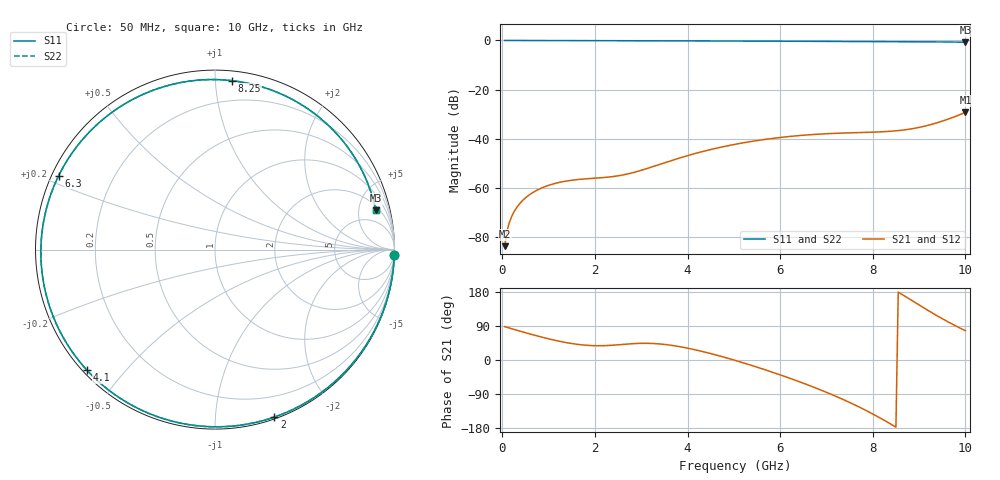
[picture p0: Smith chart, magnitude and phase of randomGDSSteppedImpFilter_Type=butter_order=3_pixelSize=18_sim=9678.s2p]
! freq	dB(S11)	phase(S11)	dB(S12)	phase(S12)
!  dB(S21)	phase(S21)	dB(S22)	phase(S22)
!S-par simulation data
#  GHz  S  DB  R 50
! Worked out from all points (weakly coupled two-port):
!   200 points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, 50 MHz to 10 GHz, reference 50 ohm
!   highest |S21| = -29.27 dB at 10 GHz (marker M1); lowest = -83.7 dB at 50 MHz (marker M2)
!   lowest |S11| = -0.7 dB at 10 GHz (marker M3), VSWR 24.67, Z = 128 + j373 ohm
!   |S11| at or under -10 dB: nowhere
!   |S22| runs from -0.7 to 0.0 dB; largest |S21 - S12| = 0
!   S11 on the Smith chart (normalised r, x): 50 MHz: 1, -62; 2 GHz: 0.02, -1.41; 4.1 GHz: 0.01, -0.40; 6.3 GHz: 0.02, +0.22; 8.25 GHz: 0.06, +1.11; 10 GHz: 2.55, +7.45
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0.05  -0.00 -1.9  -83.71 88.1  -83.71 88.1  -0.00 -1.9
0.1  -0.01 -3.7  -77.71 86.2  -77.71 86.2  -0.01 -3.7
0.15  -0.01 -5.5  -74.22 84.4  -74.22 84.4  -0.01 -5.5
0.25  -0.01 -9.1  -69.84 80.9  -69.84 80.9  -0.01 -9.1
0.4  -0.02 -14.6  -65.88 75.5  -65.88 75.5  -0.02 -14.6
0.55  -0.02 -20.0  -63.29 70.3  -63.29 70.3  -0.02 -20.0
1.05  -0.05 -37.9  -58.65 54.4  -58.65 54.4  -0.05 -37.8
1.75  -0.08 -62.1  -56.39 39.6  -56.39 39.6  -0.08 -62.1
2  -0.09 -70.5  -56.06 37.7  -56.06 37.7  -0.09 -70.5
2.7  -0.12 -93.4  -54.36 42.1  -54.36 42.1  -0.12 -93.4
3.4  -0.14 -115.4  -50.42 42.3  -50.42 42.3  -0.14 -115.4
4.1  -0.18 -136.8  -46.34 28.7  -46.34 28.7  -0.18 -136.8
5.05  -0.23 -165.7  -42.18 -1.8  -42.18 -1.8  -0.23 -165.7
5.7  -0.28 174.1  -40.20 -26.7  -40.20 -26.7  -0.28 174.1
6.3  -0.32 154.7  -38.90 -52.2  -38.90 -52.2  -0.32 154.7
6.7  -0.36 141.2  -38.29 -70.6  -38.29 -70.6  -0.36 141.3
7.55  -0.43 110.9  -37.57 -114.9  -37.57 -114.9  -0.42 111.0
8.25  -0.48 84.2  -37.12 -159.3  -37.12 -159.3  -0.48 84.3
8.35  -0.49 80.3  -37.00 -166.3  -37.00 -166.3  -0.49 80.3
9.1  -0.56 50.2  -34.97 137.8  -34.97 137.8  -0.56 50.2
9.55  -0.62 31.9  -32.52 105.6  -32.52 105.6  -0.62 32.0
10  -0.70 13.7  -29.27 77.3  -29.27 77.3  -0.70 13.8
